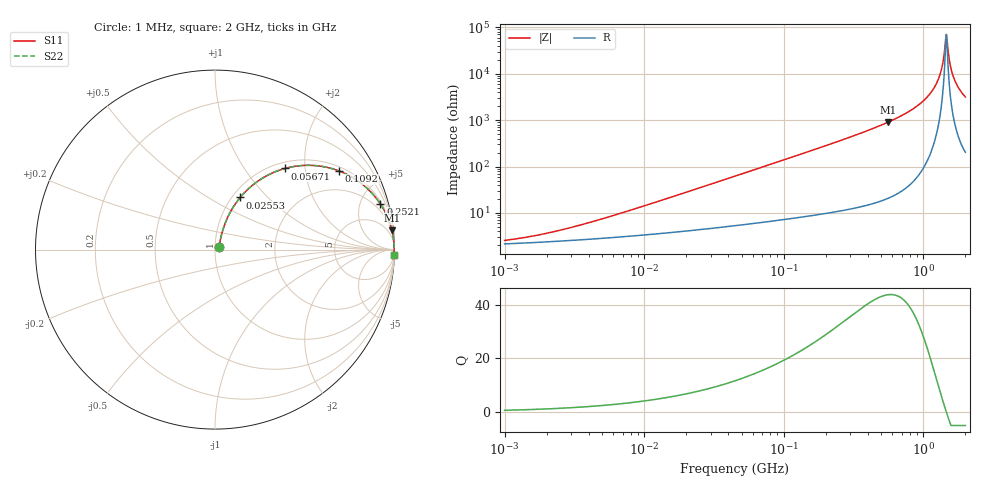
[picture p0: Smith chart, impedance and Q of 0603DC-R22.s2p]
# MHz  S  MA  R  50
!Freq  MagS11  AngS11  MagS21  AngS21  MagS12  AngS12  MagS22  AngS22
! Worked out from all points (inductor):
!   801 points, 1 MHz to 2 GHz, reference 50 ohm
!   read as one part in series: L = 220 nH near 6.562 MHz
!   highest Q = 43.7 at 559.9 MHz (marker M1), where L = 258 nH
!   self-resonance near 1.448 GHz
!   S11 on the Smith chart (normalised r, x): 1 MHz: 1.04, +0.03; 25.53 MHz: 1.09, +0.71; 56.71 MHz: 1.12, +1.57; 109.2 MHz: 1.15, +3.04; 252.1 MHz: 1.22, +7.18; 2 GHz: 5, -63
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1  0.02504 31.9  0.9788 -0.8  0.9788 -0.8  0.02504 31.9
3.572091  0.05452 59.1  0.9731 -2.8  0.9731 -2.8  0.05452 59.1
12.63918  0.1698 68.9  0.9521 -9.6  0.9521 -9.6  0.1698 68.9
25.53078  0.3228 64.2  0.9074 -18.7  0.9074 -18.7  0.3228 64.2
45.14829  0.5119 54.4  0.8166 -30.7  0.8166 -30.7  0.5119 54.4
56.71164  0.5976 49.2  0.7591 -36.6  0.7591 -36.6  0.5976 49.2
109.2411  0.8173 32.5  0.5375 -54.7  0.5375 -54.7  0.8173 32.5
159.7488  0.8998 23.7  0.4023 -64.0  0.4023 -64.0  0.8998 23.7
252.0573  0.9559 15.4  0.266 -72.8  0.266 -72.8  0.9559 15.4
559.8961  0.9915 6.3  0.1093 -82.4  0.1093 -82.4  0.9915 6.3
565.2411  0.9917 6.2  0.1079 -82.5  0.1079 -82.5  0.9917 6.2
866.7956  0.997 3.1  0.0539 -85.3  0.0539 -85.3  0.997 3.1
1130.974  0.9984 1.5  0.02558 -85.6  0.02558 -85.6  0.9984 1.5
1304.209  0.9986 0.6  0.01129 -82.6  0.01129 -82.6  0.9986 0.6
1354.728  0.9986 0.4  0.007555 -79.2  0.007555 -79.2  0.9986 0.4
1420.639  0.9986 0.2  0.003063 -62.7  0.003063 -62.7  0.9986 0.2
1461.714  0.9986 -0.0  0.001425 3.7  0.001425 3.7  0.9986 -0.0
1489.756  0.9986 -0.1  0.002442 53.7  0.002442 53.7  0.9986 -0.1
1577.149  0.9985 -0.4  0.007763 78.3  0.007763 78.3  0.9985 -0.4
1653.881  0.9983 -0.7  0.01243 81.9  0.01243 81.9  0.9983 -0.7
1801.527  0.998 -1.2  0.02097 84.0  0.02097 84.0  0.998 -1.2
2000  0.9975 -1.8  0.03163 84.5  0.03163 84.5  0.9975 -1.8
